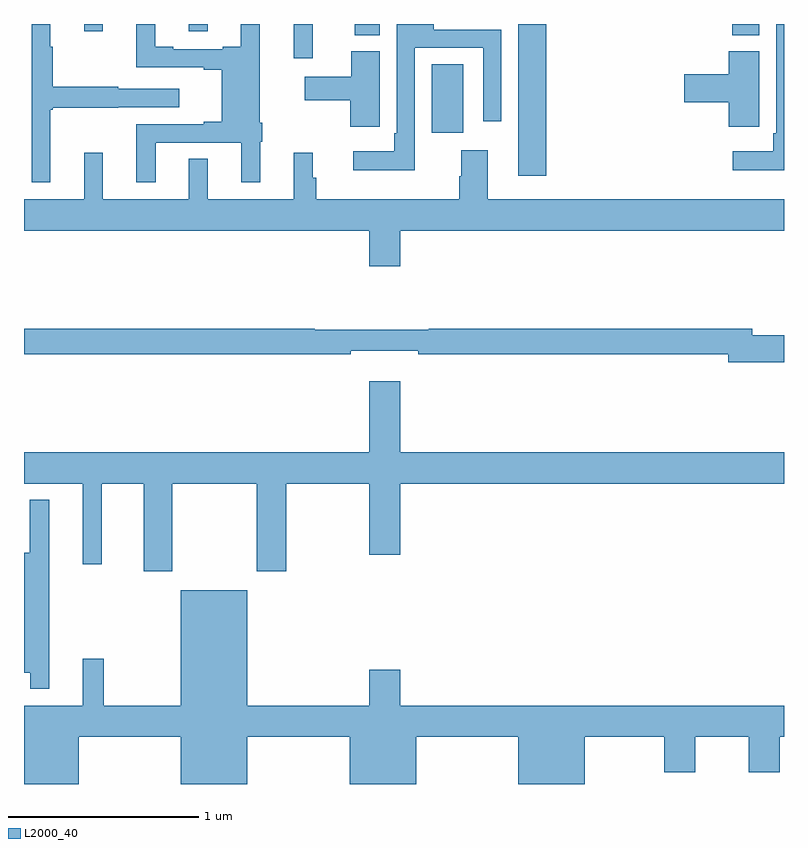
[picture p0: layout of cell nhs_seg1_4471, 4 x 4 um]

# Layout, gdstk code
import gdstk
lib = gdstk.Library(unit=1e-6, precision=1e-09)
def R(c, l, rs):  # rectangles x0, y0, x1, y1
    for r in rs: c.add(gdstk.rectangle(r[:2], r[2:], *l))
def P(c, l, *ps):  # polygons
    for p in ps: c.add(gdstk.Polygon(p, *l))
L2000_40 = (2000, 40)

nhs_seg1_4471 = lib.new_cell('nhs_seg1_4471')
R(nhs_seg1_4471, L2000_40, [(357.602,505.401,357.749,506.199), (357.146,505.626,357.313,505.988), (356.42,506.019,356.52,506.199), (356.741,506.14,356.872,506.199), (358.727,506.14,358.87,506.199), (355.316,506.16,355.415,506.199), (355.868,506.16,355.966,506.199)])
P(nhs_seg1_4471, L2000_40, [(355.139,505.749),(355.15,505.749),(355.15,505.759),(355.496,505.759),(355.496,505.761),(355.816,505.761),(355.816,505.857),(355.496,505.857),(355.496,505.87),(355.15,505.87),(355.15,506.079),(355.139,506.079),(355.139,506.199),(355.04,506.199),(355.04,505.954),(355.041,505.954),(355.041,505.365),(355.139,505.365)],
  [(359,506.199),(358.959,506.199),(358.959,505.624),(358.943,505.624),(358.943,505.528),(358.731,505.528),(358.731,505.43),(359,505.43)],
  [(357.057,506.073),(357.417,506.073),(357.417,505.686),(357.513,505.686),(357.513,506.169),(357.157,506.169),(357.157,506.199),(356.961,506.199),(356.961,505.624),(356.949,505.624),(356.949,505.528),(356.733,505.528),(356.733,505.43),(357.057,505.43)],
  [(355.693,505.575),(356.144,505.575),(356.144,505.365),(356.243,505.365),(356.243,505.578),(356.254,505.578),(356.254,505.678),(356.242,505.678),(356.242,506.199),(356.141,506.199),(356.141,506.08),(356.045,506.08),(356.045,506.067),(355.786,506.067),(355.786,506.08),(355.691,506.08),(355.691,506.199),(355.592,506.199),(355.592,505.971),(355.946,505.971),(355.946,505.959),(356.042,505.959),(356.042,505.684),(355.946,505.684),(355.946,505.671),(355.592,505.671),(355.592,505.365),(355.693,505.365)],
  [(356.872,506.055),(356.723,506.055),(356.723,505.921),(356.478,505.921),(356.478,505.799),(356.716,505.799),(356.716,505.659),(356.872,505.659)],
  [(358.869,505.771),(358.87,505.771),(358.87,506.055),(358.709,506.055),(358.709,505.934),(358.476,505.934),(358.476,505.787),(358.709,505.787),(358.709,505.659),(358.869,505.659)],
  [(356.537,505.391),(356.519,505.391),(356.519,505.522),(356.42,505.522),(356.42,505.276),(355.967,505.276),(355.967,505.49),(355.868,505.49),(355.868,505.276),(355.414,505.276),(355.414,505.522),(355.316,505.522),(355.316,505.276),(355,505.276),(355,505.112),(356.816,505.112),(356.816,504.924),(356.98,504.924),(356.98,505.112),(359,505.112),(359,505.276),(357.442,505.276),(357.442,505.534),(357.302,505.534),(357.302,505.397),(357.29,505.397),(357.29,505.276),(356.537,505.276)],
  [(359,504.56),(358.834,504.56),(358.834,504.596),(357.13,504.596),(357.13,504.589),(356.53,504.589),(356.53,504.596),(355,504.596),(355,504.46),(356.72,504.46),(356.72,504.479),(357.076,504.479),(357.076,504.46),(358.706,504.46),(358.706,504.418),(359,504.418)],
  [(355.779,503.78),(356.224,503.78),(356.224,503.319),(356.379,503.319),(356.379,503.78),(356.816,503.78),(356.816,503.406),(356.98,503.406),(356.98,503.78),(359,503.78),(359,503.944),(356.98,503.944),(356.98,504.319),(356.816,504.319),(356.816,503.944),(355,503.944),(355,503.78),(355.31,503.78),(355.31,503.355),(355.41,503.355),(355.41,503.78),(355.631,503.78),(355.631,503.319),(355.779,503.319)],
  [(355.133,502.914),(355.132,502.914),(355.132,503.695),(355.031,503.695),(355.031,503.416),(355,503.416),(355,502.784),(355.034,502.784),(355.034,502.701),(355.133,502.701)],
  [(355.288,502.448),(355.826,502.448),(355.826,502.199),(356.176,502.199),(356.176,502.448),(356.714,502.448),(356.714,502.199),(357.064,502.199),(357.064,502.448),(357.602,502.448),(357.602,502.199),(357.952,502.199),(357.952,502.448),(358.37,502.448),(358.37,502.26),(358.534,502.26),(358.534,502.448),(358.814,502.448),(358.814,502.26),(358.978,502.26),(358.978,502.448),(359,502.448),(359,502.612),(356.98,502.612),(356.98,502.801),(356.816,502.801),(356.816,502.612),(356.176,502.612),(356.176,503.218),(355.826,503.218),(355.826,502.612),(355.42,502.612),(355.42,502.858),(355.31,502.858),(355.31,502.612),(355,502.612),(355,502.199),(355.288,502.199)])

lib.write_gds('nhs_seg1_4471.gds')
